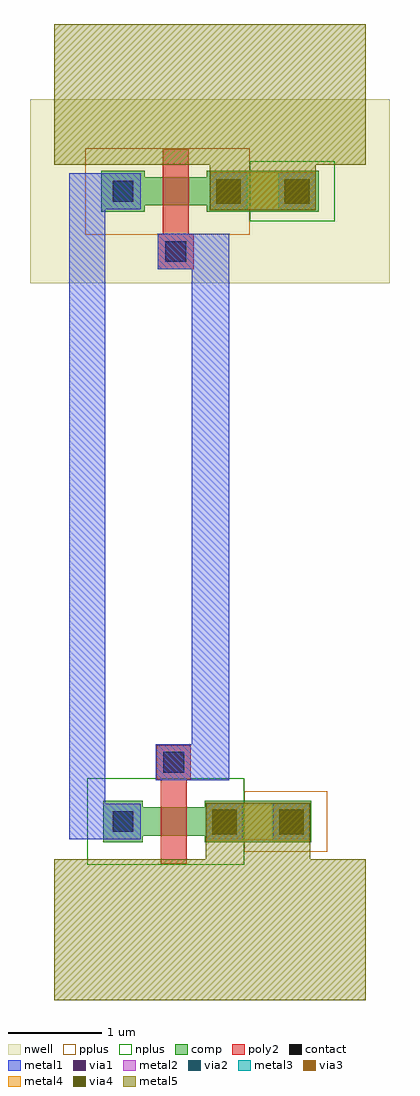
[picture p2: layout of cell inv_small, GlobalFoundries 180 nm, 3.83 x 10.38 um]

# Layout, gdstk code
import gdstk
lib = gdstk.Library(unit=1e-6, precision=1e-09)
def R(c, l, rs):  # rectangles x0, y0, x1, y1
    for r in rs: c.add(gdstk.rectangle(r[:2], r[2:], *l))
nwell = (21, 0)
comp = (22, 0)
poly2 = (30, 0)
pplus = (31, 0)
nplus = (32, 0)
contact = (33, 0)
metal1 = (34, 0)
via1 = (35, 0)
metal2 = (36, 0)
via2 = (38, 0)
via3 = (40, 0)
via4 = (41, 0)
metal3 = (42, 0)
metal4 = (46, 0)
metal5 = (81, 0)

nfet_15 = lib.new_cell('nfet$15')
R(nfet_15, comp, [(-0.42,-2.455,0,-2.015), (0.66,-2.455,1.08,-2.015), (1.08,-2.455,1.79,-2.015), (0,-2.385,0.66,-2.085)])
R(nfet_15, poly2, [(0.19,-2.685,0.47,-1.785), (0.15,-1.785,0.51,-1.425)])
R(nfet_15, pplus, [(1.08,-2.555,1.96,-1.915)])
R(nfet_15, nplus, [(-0.59,-2.695,1.08,-1.775)])
R(nfet_15, contact, [(-0.32,-2.345,-0.1,-2.125), (0.76,-2.345,0.98,-2.125), (1.47,-2.345,1.69,-2.125), (0.22,-1.715,0.44,-1.495)])
R(nfet_15, metal1, [(-0.4,-2.425,-0.02,-2.045), (0.68,-2.425,1.06,-2.045), (1.39,-2.425,1.77,-2.045), (0.14,-1.795,0.52,-1.415)])

via_dev_24 = lib.new_cell('via_dev$24')
R(via_dev_24, metal2, [(0,-4.77,0.4,-4.37)])
R(via_dev_24, via2, [(0.07,-4.7,0.33,-4.44)])
R(via_dev_24, via3, [(0.07,-4.7,0.33,-4.44)])
R(via_dev_24, via4, [(0.07,-4.7,0.33,-4.44)])
R(via_dev_24, metal3, [(0,-4.77,0.4,-4.37)])
R(via_dev_24, metal4, [(0,-4.77,0.4,-4.37)])
R(via_dev_24, metal5, [(0,-4.77,0.4,-4.37)])

via_dev_1_1 = lib.new_cell('via_dev$1$1')
R(via_dev_1_1, metal1, [(0,0,0.4,0.4)])
R(via_dev_1_1, via1, [(0.07,0.07,0.33,0.33)])
R(via_dev_1_1, metal2, [(0,0,0.4,0.4)])
R(via_dev_1_1, via2, [(0.07,0.07,0.33,0.33)])
R(via_dev_1_1, via3, [(0.07,0.07,0.33,0.33)])
R(via_dev_1_1, via4, [(0.07,0.07,0.33,0.33)])
R(via_dev_1_1, metal3, [(0,0,0.4,0.4)])
R(via_dev_1_1, metal4, [(0,0,0.4,0.4)])
R(via_dev_1_1, metal5, [(0,0,0.4,0.4)])

pfet_7 = lib.new_cell('pfet$7')
R(pfet_7, nwell, [(-1.22,-0.83,2.61,1.13)])
R(pfet_7, comp, [(-0.46,-0.07,0,0.37), (0.66,-0.07,1.12,0.37), (1.12,-0.07,1.85,0.37), (0,0,0.66,0.3)])
R(pfet_7, poly2, [(0.14,-0.68,0.52,-0.3), (0.19,-0.3,0.47,0.6)])
R(pfet_7, pplus, [(-0.63,-0.31,1.12,0.61)])
R(pfet_7, nplus, [(1.12,-0.17,2.02,0.47)])
R(pfet_7, contact, [(0.22,-0.6,0.44,-0.38), (-0.34,0.04,-0.12,0.26), (0.78,0.04,1,0.26), (1.51,0.04,1.73,0.26)])
R(pfet_7, metal1, [(0.14,-0.68,0.52,-0.3), (-0.42,-0.04,-0.04,0.34), (0.7,-0.04,1.08,0.34), (1.43,-0.04,1.81,0.34)])

inv_small = lib.new_cell('inv_small')
R(inv_small, metal1, [(0.16,-0.675,0.54,6.41), (1.46,-0.045,1.86,5.77)])
R(inv_small, metal4, [(1.61,-0.685,2.72,-0.285), (1.65,6.02,2.78,6.42)])
R(inv_small, metal5, [(0,-2.385,3.31,-0.885), (1.61,-0.885,2.72,-0.285), (1.65,6.02,2.78,6.5), (0,6.5,3.31,8)])
inv_small.add(gdstk.Reference(nfet_15, (0.94,1.75)))
inv_small.add(gdstk.Reference(via_dev_24, (1.61,4.08)))
inv_small.add(gdstk.Reference(via_dev_24, (2.32,4.08)))
inv_small.add(gdstk.Reference(via_dev_1_1, (2.38,6.02)))
inv_small.add(gdstk.Reference(via_dev_1_1, (1.65,6.02)))
inv_small.add(gdstk.Reference(pfet_7, (0.96,6.07)))

lib.write_gds('inv_small.gds')
